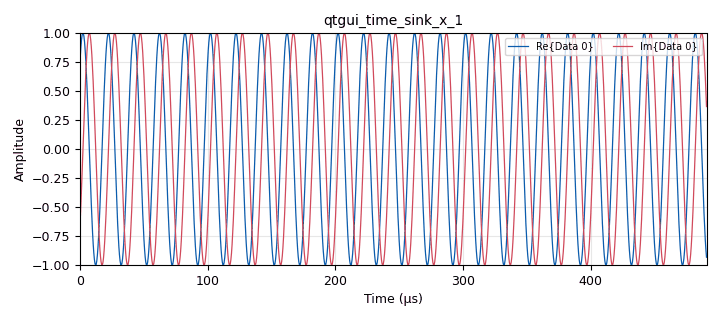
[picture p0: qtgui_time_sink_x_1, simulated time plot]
options:
  parameters:
    author: jason
    generate_options: qt_gui
    generator_class_name: PythonQtGuiGenerator
    generator_module: gnuradio.grc.workflows.python_qt_gui
    id: lesson08a_plutoTXRX
    output_language: python
    title: lesson08a_plutoTXRX
  states: {}

blocks:
- name: center_freq
  id: variable
  parameters:
    comment: Pluto LO frequency
    value: 2.4e9
  states: {}
- name: freq
  id: variable_qtgui_range
  parameters:
    start: '-100e3'
    step: '1'
    stop: 100e3
    value: 50e3
  states: {}
- name: rx_gain
  id: variable_qtgui_range
  parameters:
    start: '0'
    step: '1'
    stop: '70'
    value: '64'
  states: {}
- name: samp_rate
  id: variable
  parameters:
    comment: |-
      2.084 MS/s is the Pluto's lowest sample rate
      without its decimating FIR filter
    value: 2.084e6
  states: {}
- name: tx_attenuation
  id: variable_qtgui_range
  parameters:
    start: '0'
    step: '1'
    stop: '80'
    value: '20'
  states: {}
- name: analog_sig_source_x_0
  id: analog_sig_source_x
  parameters:
    amp: '1'
    freq: freq
    offset: '0'
    phase: '0'
    samp_rate: samp_rate
    type: complex
    waveform: analog.GR_COS_WAVE
  states: {}
- name: iio_pluto_sink_0
  id: iio_pluto_sink
  parameters:
    attenuation1: tx_attenuation
    bandwidth: int(samp_rate)
    buffer_size: '32768'
    cyclic: 'False'
    filter_source: '''Auto'''
    frequency: int(center_freq)
    samplerate: int(samp_rate)
    type: fc32
    uri: 192.168.2.1
  states: {}
- name: iio_pluto_source_0
  id: iio_pluto_source
  parameters:
    bandwidth: int(samp_rate)
    bbdc: 'True'
    buffer_size: '32768'
    filter_source: '''Auto'''
    frequency: int(center_freq)
    gain1: '''manual'''
    len_tag_key: ''
    manual_gain1: rx_gain
    quadrature: 'True'
    rfdc: 'True'
    samplerate: int(samp_rate)
    type: fc32
    uri: 192.168.2.1
  states: {}
- name: qtgui_freq_sink_x_0
  id: qtgui_freq_sink_x
  parameters:
    bw: samp_rate
    fc: '0'
    fftsize: '1024'
    type: complex
  states: {}
- name: qtgui_time_sink_x_0
  id: qtgui_time_sink_x
  parameters:
    size: '1024'
    srate: samp_rate
    type: complex
  states: {}
- name: qtgui_time_sink_x_1
  id: qtgui_time_sink_x
  parameters:
    size: '1024'
    srate: samp_rate
    type: complex
  states: {}

connections:
- [analog_sig_source_x_0, '0', iio_pluto_sink_0, '0']
- [analog_sig_source_x_0, '0', qtgui_time_sink_x_1, '0']
- [iio_pluto_source_0, '0', qtgui_freq_sink_x_0, '0']
- [iio_pluto_source_0, '0', qtgui_time_sink_x_0, '0']

metadata:
  file_format: 1
  grc_version: 3.10.12.0
